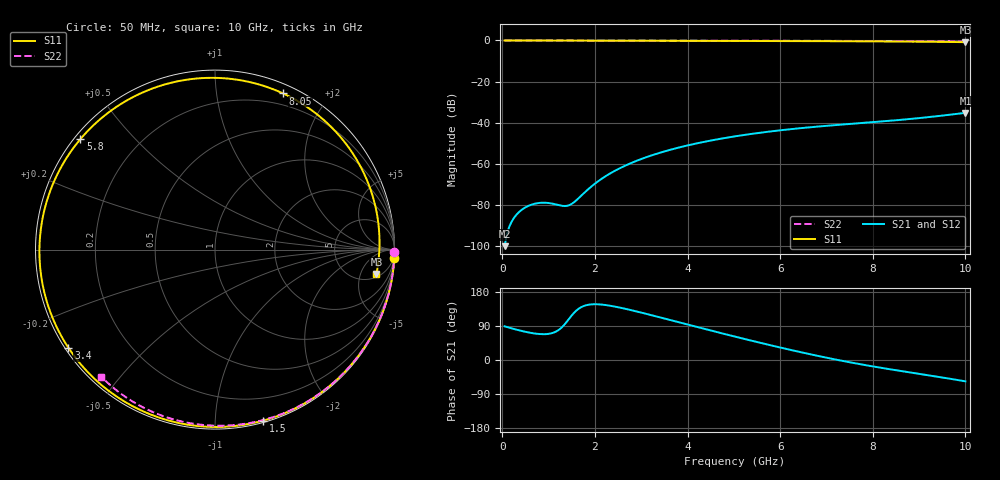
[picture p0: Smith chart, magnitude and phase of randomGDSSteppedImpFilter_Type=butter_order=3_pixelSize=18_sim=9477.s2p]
! freq	dB(S11)	phase(S11)	dB(S12)	phase(S12)
!  dB(S21)	phase(S21)	dB(S22)	phase(S22)
!S-par simulation data
#  GHz  S  DB  R 50
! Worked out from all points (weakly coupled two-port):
!   200 points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, 50 MHz to 10 GHz, reference 50 ohm
!   highest |S21| = -35.27 dB at 10 GHz (marker M1); lowest = -100.2 dB at 50 MHz (marker M2)
!   lowest |S11| = -0.8 dB at 10 GHz (marker M3), VSWR 21.08, Z = 301 - j474 ohm
!   |S11| at or under -10 dB: nowhere
!   |S22| runs from -0.4 to 0.0 dB; largest |S21 - S12| = 0
!   S11 on the Smith chart (normalised r, x): 50 MHz: 0, -44; 1.5 GHz: 0.01, -1.32; 3.4 GHz: 0.01, -0.30; 5.8 GHz: 0.02, +0.36; 8.05 GHz: 0.09, +1.52; 10 GHz: 6, -9
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0.05  -0.00 -2.6  -100.23 89.0  -100.23 89.0  -0.01 -0.8
0.45  -0.03 -23.4  -82.03 75.7  -82.03 75.7  -0.01 -6.8
0.85  -0.06 -43.6  -79.08 68.2  -79.08 68.2  -0.02 -12.9
1.2  -0.07 -60.5  -80.13 77.8  -80.13 77.8  -0.02 -18.1
1.5  -0.09 -74.2  -79.62 117.7  -79.62 117.7  -0.03 -22.6
1.75  -0.10 -85.1  -74.66 142.1  -74.66 142.1  -0.03 -26.3
2.1  -0.11 -99.5  -68.11 146.7  -68.11 146.7  -0.04 -31.4
2.45  -0.12 -113.0  -63.28 140.5  -63.28 140.5  -0.05 -36.5
2.95  -0.14 -131.1  -58.20 126.6  -58.20 126.6  -0.06 -43.7
3.4  -0.15 -146.2  -54.74 112.7  -54.74 112.7  -0.07 -50.0
4.2  -0.18 -171.3  -50.14 87.3  -50.14 87.3  -0.09 -61.1
4.6  -0.20 176.6  -48.35 74.8  -48.35 74.8  -0.10 -66.5
5.05  -0.22 163.2  -46.63 60.9  -46.63 60.9  -0.11 -72.4
5.8  -0.26 140.7  -44.30 38.7  -44.30 38.7  -0.14 -82.1
6.7  -0.33 112.6  -42.18 13.8  -42.18 13.8  -0.18 -93.3
7.4  -0.38 89.4  -40.87 -3.6  -40.87 -3.6  -0.22 -101.8
8.05  -0.45 66.4  -39.73 -18.0  -39.73 -18.0  -0.26 -109.5
8.35  -0.49 55.4  -39.18 -24.0  -39.18 -24.0  -0.29 -113.0
8.8  -0.56 38.4  -38.27 -32.7  -38.27 -32.7  -0.33 -118.2
9.2  -0.63 23.0  -37.37 -40.3  -37.37 -40.3  -0.36 -122.7
9.6  -0.72 7.2  -36.36 -48.1  -36.36 -48.1  -0.40 -127.3
10  -0.82 -8.6  -35.27 -56.3  -35.27 -56.3  -0.45 -131.8
